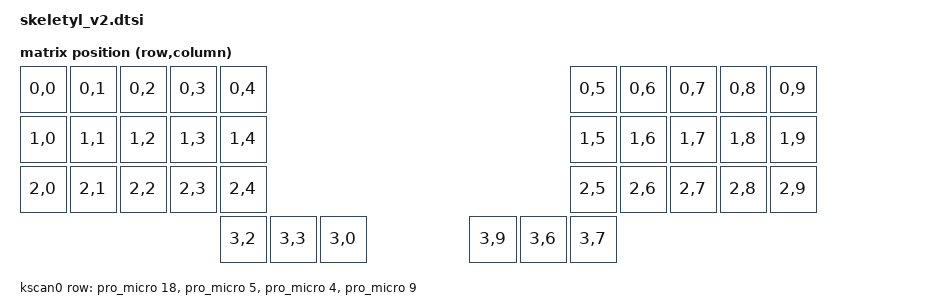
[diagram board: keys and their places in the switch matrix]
/*
 * Copyright (c) 2020 ZMK Contributors
 *
 * SPDX-License-Identifier: MIT
 */

#include <dt-bindings/zmk/matrix_transform.h>
#include <physical_layouts.dtsi>

/ {
    chosen {
        zmk,kscan = &kscan0;
        zmk,physical-layout = &skeletyl_physical_layout;
    };

    default_transform: keymap_transform_0 {
        compatible = "zmk,matrix-transform";
        columns = <10>;
        rows = <4>;

        map = <
RC(0,0) RC(0,1) RC(0,2) RC(0,3) RC(0,4)                 RC(0,5) RC(0,6) RC(0,7) RC(0,8) RC(0,9)
RC(1,0) RC(1,1) RC(1,2) RC(1,3) RC(1,4)                 RC(1,5) RC(1,6) RC(1,7) RC(1,8) RC(1,9)
RC(2,0) RC(2,1) RC(2,2) RC(2,3) RC(2,4)                 RC(2,5) RC(2,6) RC(2,7) RC(2,8) RC(2,9)
                RC(3,2) RC(3,3) RC(3,0)                 RC(3,9) RC(3,6) RC(3,7)
        >;
    };

    skeletyl_physical_layout: skeletyl_physical_layout {
        compatible = "zmk,physical-layout";
        display-name = "Skeletyl 3x5+3";
        transform = <&default_transform>;
        keys =
            /* Row 0: left and right halves */
            <&key_physical_attrs 100 100    0   0 0 0 0>
            , <&key_physical_attrs 100 100  100   0 0 0 0>
            , <&key_physical_attrs 100 100  200   0 0 0 0>
            , <&key_physical_attrs 100 100  300   0 0 0 0>
            , <&key_physical_attrs 100 100  400   0 0 0 0>
            , <&key_physical_attrs 100 100 1100   0 0 0 0>
            , <&key_physical_attrs 100 100 1200   0 0 0 0>
            , <&key_physical_attrs 100 100 1300   0 0 0 0>
            , <&key_physical_attrs 100 100 1400   0 0 0 0>
            , <&key_physical_attrs 100 100 1500   0 0 0 0>
            /* Row 1 */
            , <&key_physical_attrs 100 100    0 100 0 0 0>
            , <&key_physical_attrs 100 100  100 100 0 0 0>
            , <&key_physical_attrs 100 100  200 100 0 0 0>
            , <&key_physical_attrs 100 100  300 100 0 0 0>
            , <&key_physical_attrs 100 100  400 100 0 0 0>
            , <&key_physical_attrs 100 100 1100 100 0 0 0>
            , <&key_physical_attrs 100 100 1200 100 0 0 0>
            , <&key_physical_attrs 100 100 1300 100 0 0 0>
            , <&key_physical_attrs 100 100 1400 100 0 0 0>
            , <&key_physical_attrs 100 100 1500 100 0 0 0>
            /* Row 2 */
            , <&key_physical_attrs 100 100    0 200 0 0 0>
            , <&key_physical_attrs 100 100  100 200 0 0 0>
            , <&key_physical_attrs 100 100  200 200 0 0 0>
            , <&key_physical_attrs 100 100  300 200 0 0 0>
            , <&key_physical_attrs 100 100  400 200 0 0 0>
            , <&key_physical_attrs 100 100 1100 200 0 0 0>
            , <&key_physical_attrs 100 100 1200 200 0 0 0>
            , <&key_physical_attrs 100 100 1300 200 0 0 0>
            , <&key_physical_attrs 100 100 1400 200 0 0 0>
            , <&key_physical_attrs 100 100 1500 200 0 0 0>
            /* Thumbs: left to right, in keymap binding order */
            , <&key_physical_attrs 100 100  400 300 0 0 0>
            , <&key_physical_attrs 100 100  500 300 0 0 0>
            , <&key_physical_attrs 100 100  600 300 0 0 0>
            , <&key_physical_attrs 100 100  900 300 0 0 0>
            , <&key_physical_attrs 100 100 1000 300 0 0 0>
            , <&key_physical_attrs 100 100 1100 300 0 0 0>
            ;
    };

    kscan0: kscan {
        compatible = "zmk,kscan-gpio-matrix";
        label = "KSCAN";

        diode-direction = "row2col";
        row-gpios
            = <&pro_micro 18  GPIO_ACTIVE_HIGH>
            , <&pro_micro 5  GPIO_ACTIVE_HIGH>
            , <&pro_micro 4  GPIO_ACTIVE_HIGH>
            , <&pro_micro 9 GPIO_ACTIVE_HIGH>
            ;
        
    };
};
